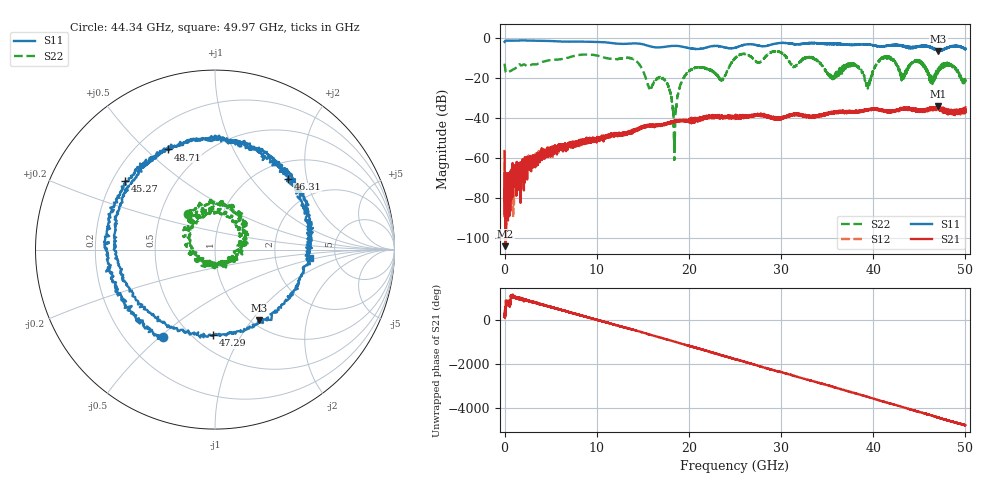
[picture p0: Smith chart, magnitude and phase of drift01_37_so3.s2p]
!Created with skrf (http://scikit-rf.org).
# Hz S RI R 50.0
!freq ReS11 ImS11 ReS21 ImS21 ReS12 ImS12 ReS22 ImS22
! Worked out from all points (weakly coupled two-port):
!   10001 points, 300 kHz to 50 GHz, reference 50 ohm
!   highest |S21| = -34.28 dB at 47.06 GHz (marker M1); lowest = -104.2 dB at 80.3 MHz (marker M2)
!   lowest |S11| = -6.6 dB at 47.07 GHz (marker M3), VSWR 2.74, Z = 54.2 - j54.6 ohm
!   |S11| at or under -10 dB: nowhere
!   |S22| runs from -61.1 to -6.7 dB; largest |S21 - S12| = 0.0034
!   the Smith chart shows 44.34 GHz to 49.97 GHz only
!   S11 on the Smith chart (normalised r, x): 44.34 GHz: 0.36, -0.51; 45.27 GHz: 0.25, +0.32; 46.31 GHz: 1.34, +1.54; 47.29 GHz: 0.62, -0.76; 48.71 GHz: 0.33, +0.59; 49.97 GHz: 3.23, -0.41
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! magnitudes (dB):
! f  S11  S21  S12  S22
! 300 kHz  -2.1  -57.0  -56.1  -12.9
! 80.3 MHz  -1.5  -104.2  -73.7  -16.2
! 8.335 GHz  -1.9  -52.0  -51.9  -8.5
! 16.67 GHz  -4.8  -43.4  -43.7  -19.9
! 17.74 GHz  -4.3  -42.7  -42.6  -24.0
! 18.43 GHz  -4.1  -41.6  -42.0  -51.1
! 19.91 GHz  -5.1  -41.3  -41.6  -17.1
! 23.6 GHz  -4.5  -39.6  -39.7  -20.7
! 25 GHz  -5.0  -39.6  -39.5  -10.3
! 33.34 GHz  -2.6  -39.5  -39.6  -9.9
! 39.44 GHz  -3.4  -36.3  -36.2  -24.4
! 41.67 GHz  -3.9  -36.7  -36.8  -10.1
! 43.18 GHz  -4.2  -35.5  -35.9  -18.9
! 44.34 GHz  -4.9  -36.0  -36.1  -12.1
! 45.27 GHz  -4.0  -35.9  -36.1  -12.6
! 46.31 GHz  -5.0  -35.4  -35.8  -21.0
! 47.06 GHz  -6.2  -34.3  -35.5  -16.1
! 47.07 GHz  -6.6  -35.7  -35.2  -16.2
! 47.29 GHz  -6.4  -35.2  -35.9  -15.8
! 48.71 GHz  -4.2  -36.5  -37.6  -14.3
! 49.97 GHz  -5.4  -36.8  -36.7  -21.3
! 50 GHz  -5.5  -34.8  -36.3  -21.7
